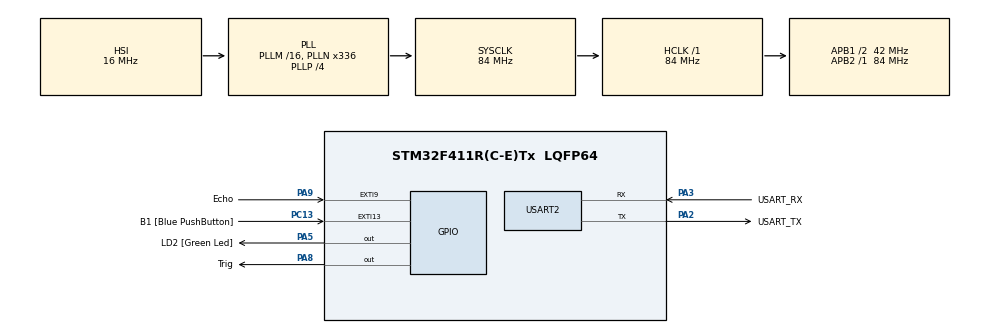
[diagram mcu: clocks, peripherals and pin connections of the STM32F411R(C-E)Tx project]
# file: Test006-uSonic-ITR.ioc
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Mcu.Family=STM32F4
Mcu.Name=STM32F411R(C-E)Tx
Mcu.Package=LQFP64
NVIC.EXTI9_5_IRQn=true\:0\:0\:false\:false\:true\:true\:true\:true
NVIC.PriorityGroup=NVIC_PRIORITYGROUP_0
NVIC.TIM3_IRQn=true\:0\:0\:false\:false\:true\:true\:true\:true
PA13.GPIO_Label=TMS
PA13.Mode=Serial_Wire
PA13.Signal=SYS_JTMS-SWDIO
PA14.GPIO_Label=TCK
PA14.Mode=Serial_Wire
PA14.Signal=SYS_JTCK-SWCLK
PA2.GPIO_Label=USART_TX
PA2.Mode=Asynchronous
PA2.Signal=USART2_TX
PA3.GPIO_Label=USART_RX
PA3.Mode=Asynchronous
PA3.Signal=USART2_RX
PA5.GPIO_Label=LD2 [Green Led]
PA5.Signal=GPIO_Output
PA8.GPIO_Label=Trig
PA8.Signal=GPIO_Output
PA9.GPIO_Label=Echo
PA9.GPIO_ModeDefaultEXTI=GPIO_MODE_IT_RISING_FALLING
PA9.Signal=GPXTI9
PB3.GPIO_Label=SWO
PB3.Signal=SYS_JTDO-SWO
PC13-ANTI_TAMP.GPIO_Label=B1 [Blue PushButton]
PC13-ANTI_TAMP.GPIO_ModeDefaultEXTI=GPIO_MODE_IT_FALLING
PC13-ANTI_TAMP.Signal=GPXTI13
PC14-OSC32_IN.Mode=LSE-External-Oscillator
PC14-OSC32_IN.Signal=RCC_OSC32_IN
PC15-OSC32_OUT.Mode=LSE-External-Oscillator
PC15-OSC32_OUT.Signal=RCC_OSC32_OUT
PH0\ -\ OSC_IN.Mode=HSE-External-Clock-Source
PH0\ -\ OSC_IN.Signal=RCC_OSC_IN
PH1\ -\ OSC_OUT.Mode=HSE-External-Clock-Source
PH1\ -\ OSC_OUT.Signal=RCC_OSC_OUT
ProjectManager.HeapSize=0x200
ProjectManager.StackSize=0x400
ProjectManager.TargetToolchain=STM32CubeIDE
RCC.48MHZClocksFreq_Value=84000000
RCC.AHBFreq_Value=84000000
RCC.APB1CLKDivider=RCC_HCLK_DIV2
RCC.APB1Freq_Value=42000000
RCC.APB1TimFreq_Value=84000000
RCC.APB2Freq_Value=84000000
RCC.APB2TimFreq_Value=84000000
RCC.CortexFreq_Value=84000000
RCC.FLatency-AdvancedSettings=FLASH_LATENCY_2
RCC.HCLKFreq_Value=84000000
RCC.HSE_VALUE=8000000
RCC.HSI_VALUE=16000000
RCC.PLLN=336
RCC.PLLP=RCC_PLLP_DIV4
RCC.SYSCLKFreq_VALUE=84000000
RCC.SYSCLKSource=RCC_SYSCLKSOURCE_PLLCLK
RCC.VCOOutputFreq_Value=336000000
TIM2.Prescaler=83
TIM3.Period=5000-1
TIM3.Prescaler=2100-1
USART2.VirtualMode=VM_ASYNC
VP_TIM2_VS_ClockSourceINT.Mode=Internal
VP_TIM3_VS_ClockSourceINT.Mode=Internal
board=NUCLEO-F411RE

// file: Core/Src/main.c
/* USER CODE BEGIN Header */
/**
  ******************************************************************************
  * @file           : main.c
  * @brief          : Main program body
  ******************************************************************************
  * @attention
  *
  * Copyright (c) 2025 STMicroelectronics.
  * All rights reserved.
  *
  * This software is licensed under terms that can be found in the LICENSE file
  * in the root directory of this software component.
  * If no LICENSE file comes with this software, it is provided AS-IS.
  *
  ******************************************************************************
  */
/* USER CODE END Header */
#include "main.h"

/* USER CODE BEGIN Includes */
#include "uSonicc.h"
double Distance ();
/* USER CODE END Includes */

TIM_HandleTypeDef htim2;
TIM_HandleTypeDef htim3;

UART_HandleTypeDef huart2;

void SystemClock_Config(void);
static void MX_GPIO_Init(void);
static void MX_USART2_UART_Init(void);
static void MX_TIM2_Init(void);
static void MX_TIM3_Init(void);

/* USER CODE BEGIN 0 */
int t1 = 0, t2 = 0;
double dist = 0.0;
void HAL_GPIO_EXTI_Callback(uint16_t GPIO_Pin)
{

	if(GPIO_Pin == Echo_Pin)
	{
		if(HAL_GPIO_ReadPin(Echo_GPIO_Port, Echo_Pin) == 1) //rising edge
		{
			t1 = htim2.Instance->CNT;
		}
		else  //falling edge
		{
			t2 = htim2.Instance->CNT;
			dist = (t2 - t1) * 0.17;
		}
	}
}

void HAL_TIM_PeriodElapsedCallback(TIM_HandleTypeDef *htim)
{
	Trigger();
}

/* USER CODE END 0 */

int main(void)
{

  /* MCU Configuration--------------------------------------------------------*/

  /* Reset of all peripherals, Initializes the Flash interface and the Systick. */
  HAL_Init();

  /* Configure the system clock */
  SystemClock_Config();

  /* Initialize all configured peripherals */
  MX_GPIO_Init();
  MX_USART2_UART_Init();
  MX_TIM2_Init();
  MX_TIM3_Init();
  /* USER CODE BEGIN 2 */
  ProgramStart ("uSonic Test - GPIO Interrupt");
  HAL_TIM_Base_Start (&htim2);
  HAL_TIM_Base_Start_IT (&htim3);

  /* USER CODE END 2 */

  /* Infinite loop */
  /* USER CODE BEGIN WHILE */
  while (1)
  {
	  printf("Distance = %f\r\n" , dist);
	  HAL_Delay(500);

    /* USER CODE END WHILE */

  }
}

void SystemClock_Config(void)
{
  RCC_OscInitTypeDef RCC_OscInitStruct = {0};
  RCC_ClkInitTypeDef RCC_ClkInitStruct = {0};

  /** Configure the main internal regulator output voltage
  */
  __HAL_RCC_PWR_CLK_ENABLE();
  __HAL_PWR_VOLTAGESCALING_CONFIG(PWR_REGULATOR_VOLTAGE_SCALE1);

  /** Initializes the RCC Oscillators according to the specified parameters
  * in the RCC_OscInitTypeDef structure.
  */
  RCC_OscInitStruct.OscillatorType = RCC_OSCILLATORTYPE_HSI;
  RCC_OscInitStruct.HSIState = RCC_HSI_ON;
  RCC_OscInitStruct.HSICalibrationValue = RCC_HSICALIBRATION_DEFAULT;
  RCC_OscInitStruct.PLL.PLLState = RCC_PLL_ON;
  RCC_OscInitStruct.PLL.PLLSource = RCC_PLLSOURCE_HSI;
  RCC_OscInitStruct.PLL.PLLM = 16;
  RCC_OscInitStruct.PLL.PLLN = 336;
  RCC_OscInitStruct.PLL.PLLP = RCC_PLLP_DIV4;
  RCC_OscInitStruct.PLL.PLLQ = 4;
  if (HAL_RCC_OscConfig(&RCC_OscInitStruct) != HAL_OK)
  {
    Error_Handler();
  }

  /** Initializes the CPU, AHB and APB buses clocks
  */
  RCC_ClkInitStruct.ClockType = RCC_CLOCKTYPE_HCLK|RCC_CLOCKTYPE_SYSCLK
                              |RCC_CLOCKTYPE_PCLK1|RCC_CLOCKTYPE_PCLK2;
  RCC_ClkInitStruct.SYSCLKSource = RCC_SYSCLKSOURCE_PLLCLK;
  RCC_ClkInitStruct.AHBCLKDivider = RCC_SYSCLK_DIV1;
  RCC_ClkInitStruct.APB1CLKDivider = RCC_HCLK_DIV2;
  RCC_ClkInitStruct.APB2CLKDivider = RCC_HCLK_DIV1;

  if (HAL_RCC_ClockConfig(&RCC_ClkInitStruct, FLASH_LATENCY_2) != HAL_OK)
  {
    Error_Handler();
  }
}

static void MX_TIM2_Init(void)
{

  TIM_ClockConfigTypeDef sClockSourceConfig = {0};
  TIM_MasterConfigTypeDef sMasterConfig = {0};

  htim2.Instance = TIM2;
  htim2.Init.Prescaler = 83;
  htim2.Init.CounterMode = TIM_COUNTERMODE_UP;
  htim2.Init.Period = 4294967295;
  htim2.Init.ClockDivision = TIM_CLOCKDIVISION_DIV1;
  htim2.Init.AutoReloadPreload = TIM_AUTORELOAD_PRELOAD_DISABLE;
  if (HAL_TIM_Base_Init(&htim2) != HAL_OK)
  {
    Error_Handler();
  }
  sClockSourceConfig.ClockSource = TIM_CLOCKSOURCE_INTERNAL;
  if (HAL_TIM_ConfigClockSource(&htim2, &sClockSourceConfig) != HAL_OK)
  {
    Error_Handler();
  }
  sMasterConfig.MasterOutputTrigger = TIM_TRGO_RESET;
  sMasterConfig.MasterSlaveMode = TIM_MASTERSLAVEMODE_DISABLE;
  if (HAL_TIMEx_MasterConfigSynchronization(&htim2, &sMasterConfig) != HAL_OK)
  {
    Error_Handler();
  }

}

static void MX_TIM3_Init(void)
{

  TIM_ClockConfigTypeDef sClockSourceConfig = {0};
  TIM_MasterConfigTypeDef sMasterConfig = {0};

  htim3.Instance = TIM3;
  htim3.Init.Prescaler = 2100-1;
  htim3.Init.CounterMode = TIM_COUNTERMODE_UP;
  htim3.Init.Period = 5000-1;
  htim3.Init.ClockDivision = TIM_CLOCKDIVISION_DIV1;
  htim3.Init.AutoReloadPreload = TIM_AUTORELOAD_PRELOAD_DISABLE;
  if (HAL_TIM_Base_Init(&htim3) != HAL_OK)
  {
    Error_Handler();
  }
  sClockSourceConfig.ClockSource = TIM_CLOCKSOURCE_INTERNAL;
  if (HAL_TIM_ConfigClockSource(&htim3, &sClockSourceConfig) != HAL_OK)
  {
    Error_Handler();
  }
  sMasterConfig.MasterOutputTrigger = TIM_TRGO_RESET;
  sMasterConfig.MasterSlaveMode = TIM_MASTERSLAVEMODE_DISABLE;
  if (HAL_TIMEx_MasterConfigSynchronization(&htim3, &sMasterConfig) != HAL_OK)
  {
    Error_Handler();
  }

}

static void MX_USART2_UART_Init(void)
{

  huart2.Instance = USART2;
  huart2.Init.BaudRate = 115200;
  huart2.Init.WordLength = UART_WORDLENGTH_8B;
  huart2.Init.StopBits = UART_STOPBITS_1;
  huart2.Init.Parity = UART_PARITY_NONE;
  huart2.Init.Mode = UART_MODE_TX_RX;
  huart2.Init.HwFlowCtl = UART_HWCONTROL_NONE;
  huart2.Init.OverSampling = UART_OVERSAMPLING_16;
  if (HAL_UART_Init(&huart2) != HAL_OK)
  {
    Error_Handler();
  }

}

static void MX_GPIO_Init(void)
{
  GPIO_InitTypeDef GPIO_InitStruct = {0};

  /* GPIO Ports Clock Enable */
  __HAL_RCC_GPIOC_CLK_ENABLE();
  __HAL_RCC_GPIOH_CLK_ENABLE();
  __HAL_RCC_GPIOA_CLK_ENABLE();
  __HAL_RCC_GPIOB_CLK_ENABLE();

  /*Configure GPIO pin Output Level */
  HAL_GPIO_WritePin(GPIOA, LD2_Pin|Trig_Pin, GPIO_PIN_RESET);

  /*Configure GPIO pin : B1_Pin */
  GPIO_InitStruct.Pin = B1_Pin;
  GPIO_InitStruct.Mode = GPIO_MODE_IT_FALLING;
  GPIO_InitStruct.Pull = GPIO_NOPULL;
  HAL_GPIO_Init(B1_GPIO_Port, &GPIO_InitStruct);

  /*Configure GPIO pins : LD2_Pin Trig_Pin */
  GPIO_InitStruct.Pin = LD2_Pin|Trig_Pin;
  GPIO_InitStruct.Mode = GPIO_MODE_OUTPUT_PP;
  GPIO_InitStruct.Pull = GPIO_NOPULL;
  GPIO_InitStruct.Speed = GPIO_SPEED_FREQ_LOW;
  HAL_GPIO_Init(GPIOA, &GPIO_InitStruct);

  /*Configure GPIO pin : Echo_Pin */
  GPIO_InitStruct.Pin = Echo_Pin;
  GPIO_InitStruct.Mode = GPIO_MODE_IT_RISING_FALLING;
  GPIO_InitStruct.Pull = GPIO_NOPULL;
  HAL_GPIO_Init(Echo_GPIO_Port, &GPIO_InitStruct);

  /* EXTI interrupt init*/
  HAL_NVIC_SetPriority(EXTI9_5_IRQn, 0, 0);
  HAL_NVIC_EnableIRQ(EXTI9_5_IRQn);

}

void Error_Handler(void)
{
  __disable_irq();
  while (1)
  {
  }
}
